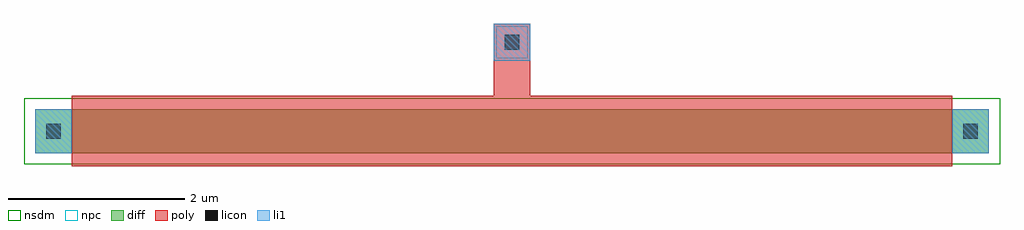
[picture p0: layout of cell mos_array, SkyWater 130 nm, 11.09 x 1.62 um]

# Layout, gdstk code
import gdstk
lib = gdstk.Library(unit=1e-6, precision=1e-09)
def R(c, l, rs):  # rectangles x0, y0, x1, y1
    for r in rs: c.add(gdstk.rectangle(r[:2], r[2:], *l))
diff = (65, 20)
poly = (66, 20)
licon = (66, 44)
li1 = (67, 20)
nsdm = (93, 44)
npc = (95, 20)

mos_array = lib.new_cell('mos_array')
R(mos_array, diff, [(0,0,10.84,0.5)])
R(mos_array, poly, [(0.42,-0.15,10.42,0.5), (0.42,0.5,10.42,0.65), (0.42,0.5,10.42,0.65), (5.21,0.65,5.63,1.47)])
R(mos_array, licon, [(0.125,0.165,0.295,0.335), (10.545,0.165,10.715,0.335), (5.335,1.175,5.505,1.345)])
R(mos_array, li1, [(0,0,0.42,0.5), (10.42,0,10.84,0.5), (5.21,1.05,5.63,1.47)])
R(mos_array, nsdm, [(-0.125,-0.125,10.965,0.625)])
R(mos_array, npc, [(5.24,1.08,5.6,1.44)])

lib.write_gds('mos_array.gds')
